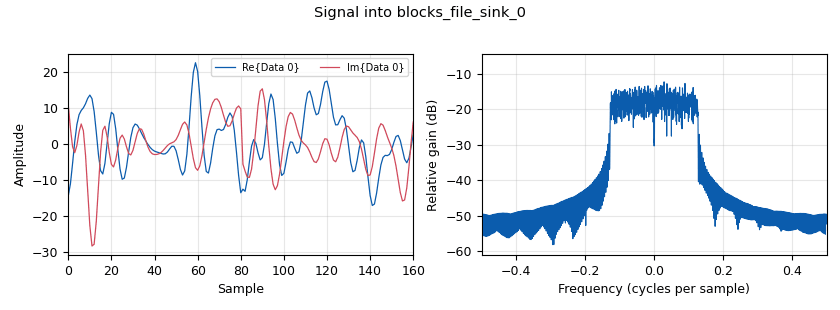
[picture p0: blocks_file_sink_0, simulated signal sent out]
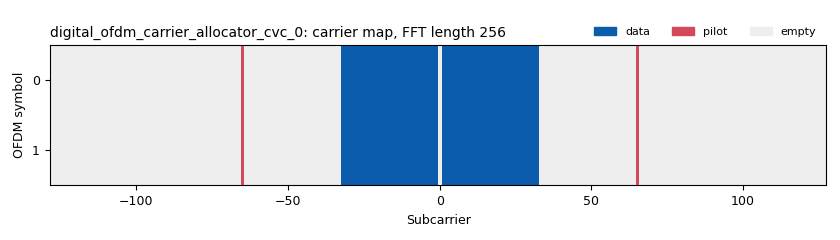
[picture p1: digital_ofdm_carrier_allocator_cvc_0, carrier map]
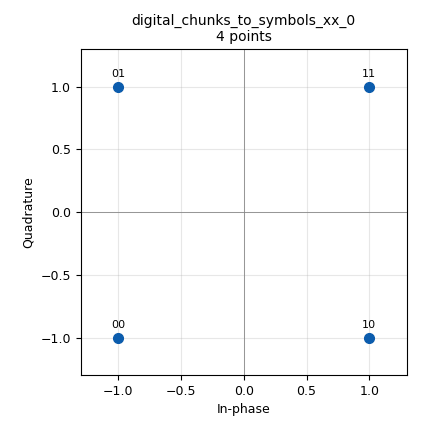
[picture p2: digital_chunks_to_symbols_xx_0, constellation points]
options:
  parameters:
    generate_options: qt_gui
    id: tx
    output_language: python
  states: {}

blocks:
- name: carriers1
  id: variable
  parameters:
    value: '[list(range(-ncarrier//2,0))+list(range(1,ncarrier//2+1))]'
  states: {}
- name: carriers2
  id: variable
  parameters:
    value: '[list(range(-ncarrier+10,0)) + list(range(1,ncarrier-10))]'
  states: {}
- name: cf
  id: variable
  parameters:
    value: 3555e6
  states: {}
- name: cp_len
  id: variable
  parameters:
    value: '16'
  states: {}
- name: fft_len
  id: variable
  parameters:
    value: 128*m
  states: {}
- name: m
  id: variable
  parameters:
    value: '2'
  states: {}
- name: ncarrier
  id: variable
  parameters:
    value: 32*m
  states: {}
- name: samp_rate
  id: variable
  parameters:
    value: 5e6
  states: {}
- name: variable_1
  id: variable
  parameters:
    value: '0'
  states: {}
- name: blocks_file_sink_0
  id: blocks_file_sink
  parameters:
    file: /local/Signal_files/ofdm.complex
    type: complex
  states: {}
- name: blocks_repack_bits_bb_0
  id: blocks_repack_bits_bb
  parameters:
    endianness: gr.GR_LSB_FIRST
    k: '1'
    l: '2'
  states: {}
- name: blocks_stream_to_tagged_stream_0
  id: blocks_stream_to_tagged_stream
  parameters:
    len_tag_key: '"packet_len"'
    packet_len: ncarrier
    type: complex
  states: {}
- name: blocks_throttle_0
  id: blocks_throttle
  parameters:
    samples_per_second: samp_rate
    type: complex
  states: {state: disabled}
- name: digital_chunks_to_symbols_xx_0
  id: digital_chunks_to_symbols_xx
  parameters:
    dimension: '1'
    in_type: byte
    out_type: complex
    symbol_table: '[-1-1j,-1+1j,1-1j,1+1j]'
  states: {}
- name: digital_glfsr_source_x_0
  id: digital_glfsr_source_x
  parameters:
    degree: '16'
    mask: '0'
    repeat: 'True'
    seed: '1'
    type: byte
  states: {}
- name: digital_ofdm_carrier_allocator_cvc_0
  id: digital_ofdm_carrier_allocator_cvc
  parameters:
    fft_len: fft_len
    len_tag_key: '"packet_len"'
    occupied_carriers: carriers1
    output_is_shifted: 'True'
    pilot_carriers: ((-(ncarrier+1),(ncarrier+1)),)
    pilot_symbols: ((0,0,),)
    sync_words: ()
  states: {}
- name: digital_ofdm_cyclic_prefixer_0
  id: digital_ofdm_cyclic_prefixer
  parameters:
    cp_len: cp_len
    input_size: fft_len
    tagname: '"packet_len"'
  states: {}
- name: fft_vxx_0
  id: fft_vxx
  parameters:
    fft_size: fft_len
    forward: 'False'
    shift: 'True'
    type: complex
    window: window.hamming(fft_len)
  states: {}
- name: qtgui_freq_sink_x_0
  id: qtgui_freq_sink_x
  parameters:
    bw: samp_rate
    fc: '0'
    fftsize: '1024'
    showports: 'True'
    type: complex
    wintype: firdes.WIN_BLACKMAN_hARRIS
  states: {state: disabled}
- name: uhd_usrp_sink_0
  id: uhd_usrp_sink
  parameters:
    ant0: TX/RX
    bw0: samp_rate
    center_freq0: cf
    dev_args: '""'
    gain0: '30'
    len_tag_name: ''
    norm_gain0: 'False'
    samp_rate: samp_rate
    sync: sync
    type: fc32
  states: {state: disabled}

connections:
- [blocks_repack_bits_bb_0, '0', digital_chunks_to_symbols_xx_0, '0']
- [blocks_stream_to_tagged_stream_0, '0', digital_ofdm_carrier_allocator_cvc_0, '0']
- [blocks_throttle_0, '0', qtgui_freq_sink_x_0, '0']
- [digital_chunks_to_symbols_xx_0, '0', blocks_stream_to_tagged_stream_0, '0']
- [digital_glfsr_source_x_0, '0', blocks_repack_bits_bb_0, '0']
- [digital_ofdm_carrier_allocator_cvc_0, '0', fft_vxx_0, '0']
- [digital_ofdm_cyclic_prefixer_0, '0', blocks_file_sink_0, '0']
- [digital_ofdm_cyclic_prefixer_0, '0', blocks_throttle_0, '0']
- [digital_ofdm_cyclic_prefixer_0, '0', qtgui_freq_sink_x_0, '0']
- [digital_ofdm_cyclic_prefixer_0, '0', uhd_usrp_sink_0, '0']
- [fft_vxx_0, '0', digital_ofdm_cyclic_prefixer_0, '0']

metadata:
  file_format: 1
